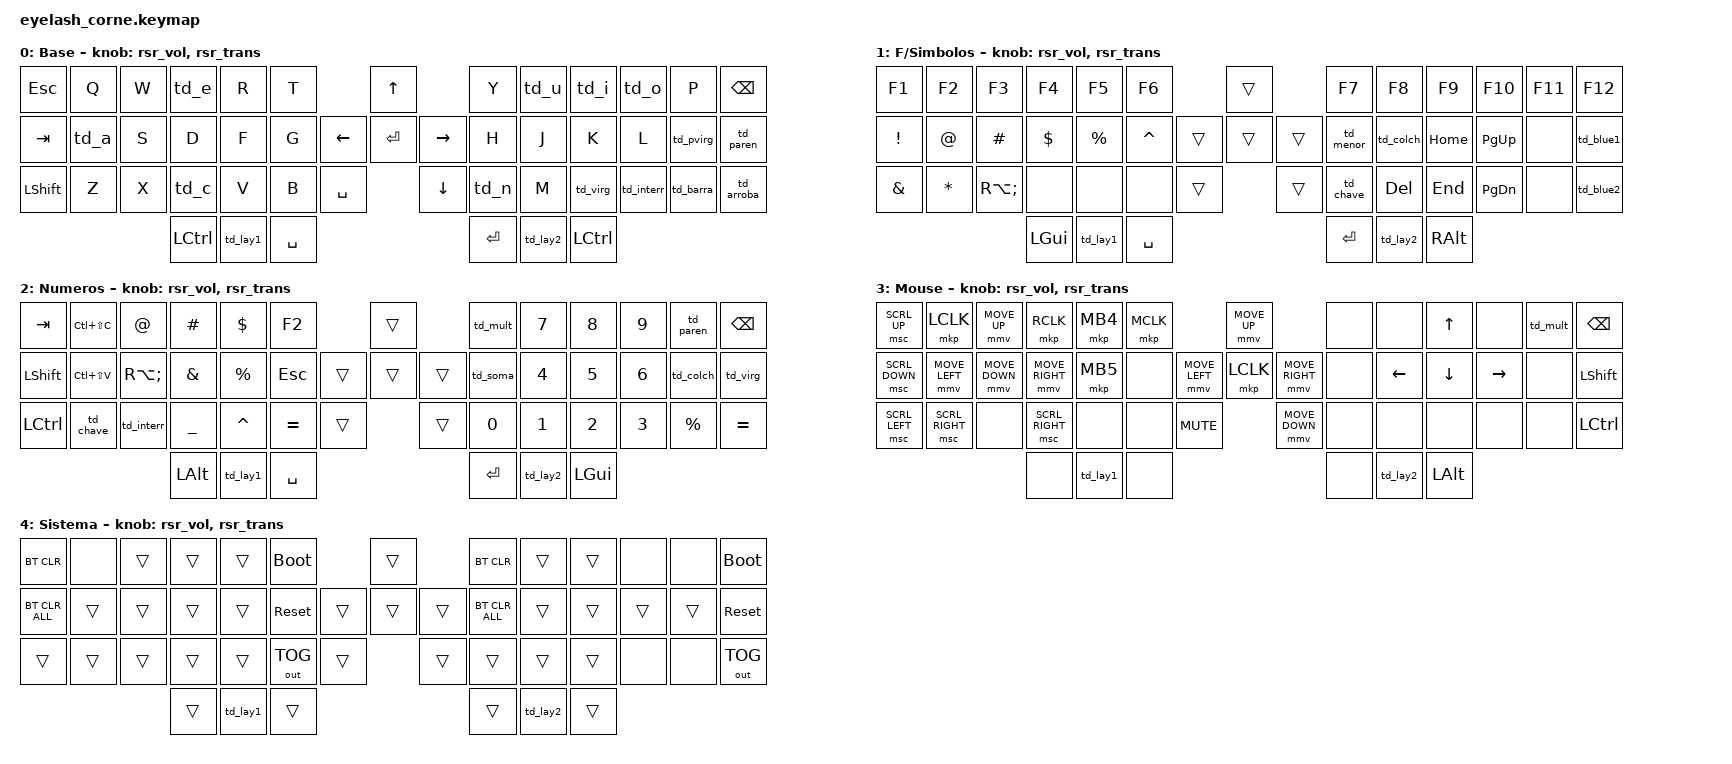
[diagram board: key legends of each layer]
/*
 * Eyelash Corne - keymap da Renee
 * Macros e tap dances recuperadas do firmware antigo (corne_left-nice_nano-zmk.uf2)
 * e adaptadas para o layout do Eyelash Corne.
 *
 * Os acentos usam teclas mortas: o sistema operacional precisa estar no layout
 * "Inglês (EUA) - Internacional" (US International), como no teclado antigo.
 */

#define ZMK_POINTING_DEFAULT_MOVE_VAL 1200  // 600
#define ZMK_POINTING_DEFAULT_SCRL_VAL 25   // 10

#include <input/processors.dtsi>
#include <zephyr/dt-bindings/input/input-event-codes.h>
#include <behaviors.dtsi>
#include <behaviors/runtime-sensor-rotate.dtsi>
#include <dt-bindings/zmk/bt.h>
#include <dt-bindings/zmk/keys.h>
#include <dt-bindings/zmk/outputs.h>
#include <dt-bindings/zmk/pointing.h>
#include <dt-bindings/zmk/rgb.h>

&soft_off { hold-time-ms = <2000>; };

#define ACENTO(label, nome, k1, k2)                     \
    label: label {                                      \
        compatible = "zmk,behavior-macro";              \
        display-name = nome;                            \
        #binding-cells = <0>;                           \
        wait-ms = <15>;                                 \
        tap-ms = <30>;                                  \
        bindings = <&macro_tap &kp k1 &kp k2>;          \
    };

#define TD(label, nome, ...)                            \
    label: label {                                      \
        compatible = "zmk,behavior-tap-dance";          \
        display-name = nome;                            \
        #binding-cells = <0>;                           \
        tapping-term-ms = <250>;                        \
        bindings = __VA_ARGS__;                         \
    };

/ {
    macros {
        // Tecla morta + letra (US International)
        ACENTO(m_cedilha,    "ç", SQT,        C)
        ACENTO(m_aagudo,     "á", SQT,        A)
        ACENTO(m_eagudo,     "é", SQT,        E)
        ACENTO(m_iagudo,     "í", SQT,        I)
        ACENTO(m_oagudo,     "ó", SQT,        O)
        ACENTO(m_uagudo,     "ú", SQT,        U)
        ACENTO(m_acrase,     "à", GRAVE,      A)
        ACENTO(m_atil,       "ã", LS(GRAVE),  A)
        ACENTO(m_otil,       "õ", LS(GRAVE),  O)
        ACENTO(m_ntil,       "ñ", LS(GRAVE),  N)
        ACENTO(m_acirc,      "â", LS(N6),     A)
        ACENTO(m_ecirc,      "ê", LS(N6),     E)
        ACENTO(m_ocirc,      "ô", LS(N6),     O)
    };

    behaviors {
        // Letras: 1 toque = letra, 2/3/4 toques = acentos
        TD(td_a,     "a á ã à", <&kp A>, <&m_aagudo>, <&m_atil>, <&m_acrase>)
        TD(td_e,     "e é ê",   <&kp E>, <&m_eagudo>, <&m_ecirc>)
        TD(td_i,     "i í",     <&kp I>, <&m_iagudo>)
        TD(td_o,     "o ó õ ô", <&kp O>, <&m_oagudo>, <&m_otil>, <&m_ocirc>)
        TD(td_u,     "u ú",     <&kp U>, <&m_uagudo>)
        TD(td_c,     "c ç",     <&kp C>, <&m_cedilha>)
        TD(td_n,     "n ñ",     <&kp N>, <&m_ntil>)

        // Pontuação e símbolos: 1 toque | 2 toques | 3 toques
        TD(td_pvirg,  "; '",     <&kp SEMI>, <&kp SQT>)
        TD(td_virg,   ", . ; aspas", <&kp COMMA>, <&kp DOT>, <&kp SEMI>, <&kp DQT>)
        TD(td_barra,  "/ barra pipe",  <&kp FSLH>, <&kp BSLH>, <&kp PIPE>)
        TD(td_arroba, "@ _ barra pipe", <&kp AT>, <&kp UNDER>, <&kp BSLH>, <&kp PIPE>)
        TD(td_interr, "? !",     <&kp QMARK>, <&kp EXCL>)
        TD(td_paren,  "( ) [ ]", <&kp LPAR>, <&kp RPAR>, <&kp LBKT>, <&kp RBKT>)
        TD(td_colch,  "[ ]",     <&kp LBKT>, <&kp RBKT>)
        TD(td_chave,  "{ }",     <&kp LBRC>, <&kp RBRC>)
        TD(td_menor,  "< > { }", <&kp LT>, <&kp GT>, <&kp LBRC>, <&kp RBRC>)
        TD(td_mult,   "* /",     <&kp ASTRK>, <&kp FSLH>)
        TD(td_soma,   "+ - / *", <&kp PLUS>, <&kp MINUS>, <&kp FSLH>, <&kp ASTRK>)
        TD(td_agudo,  "´ ` ^ ~", <&kp SQT>, <&kp GRAVE>, <&kp CARET>, <&kp TILDE>)
        TD(td_til,    "~ ^",     <&kp TILDE>, <&kp CARET>)

        // Backspace/Delete e Tab/Esc (definidos no layout antigo, sem tecla fixa:
        // dá para colocar em qualquer tecla pelo ZMK Studio)
        bkdel: bkdel {
            compatible = "zmk,behavior-tap-dance";
            display-name = "Bksp Del";
            #binding-cells = <0>;
            tapping-term-ms = <210>;
            bindings = <&kp BSPC>, <&kp DEL>;
        };

        tabesc: tabesc {
            compatible = "zmk,behavior-tap-dance";
            display-name = "Tab Esc";
            #binding-cells = <0>;
            tapping-term-ms = <220>;
            bindings = <&kp TAB>, <&kp ESC>;
        };

        // Bluetooth: perfis por número de toques
        TD(td_blue1,  "BT 0/1/2/4", <&bt BT_SEL 0>, <&bt BT_SEL 1>, <&bt BT_SEL 2>, <&bt BT_SEL 4>)
        TD(td_blue2,  "BT 2/3",  <&bt BT_SEL 2>, <&bt BT_SEL 3>)

        // Troca de camada (fixa): toques 1,2 = camada; 5 toques = camada 4 (sistema)
        TD(td_lay1,   "Camada 0/1", <&to 0>, <&to 1>, <&none>, <&none>, <&to 4>)
        TD(td_lay2,   "Camada 2/3", <&to 2>, <&to 3>, <&none>, <&none>, <&to 4>)

        rsr_vol: rsr_vol {
            compatible = "zmk,behavior-runtime-sensor-rotate";
            #sensor-binding-cells = <0>;
            tap-ms = <5>;
            cw-binding = <&kp C_VOL_UP>;
            ccw-binding = <&kp C_VOL_DN>;
        };

        rsr_trans: rsr_trans {
            compatible = "zmk,behavior-runtime-sensor-rotate";
            #sensor-binding-cells = <0>;
            tap-ms = <0>;
        };
    };

    combos {
        compatible = "zmk,combos";

        // Segurar Q + S + Z por 2 s desliga o teclado (padrão do fabricante)
        softoff {
            bindings = <&soft_off>;
            key-positions = <1 15 29>;
        };
    };

    keymap {
        compatible = "zmk,keymap";

        // Teclas do meio: joystick (cima/esquerda/enter/direita/baixo) e clique do encoder
        layer_0 {
            display-name = "Base";
            bindings = <
&kp ESC    &kp Q   &kp W  &td_e  &kp R     &kp T                          &kp UP                 &kp Y      &td_u     &td_i       &td_o      &kp P       &kp BSPC
&kp TAB    &td_a   &kp S  &kp D  &kp F     &kp G                &kp LEFT  &kp ENTER  &kp RIGHT   &kp H      &kp J     &kp K       &kp L      &td_pvirg   &td_paren
&kp LSHFT  &kp Z   &kp X  &td_c  &kp V     &kp B     &kp SPACE            &kp DOWN               &td_n      &kp M     &td_virg    &td_interr &td_barra   &td_arroba
                          &kp LCTRL &td_lay1  &kp SPACE                                          &kp ENTER  &td_lay2  &kp LCTRL
            >;
            sensor-bindings = <&rsr_vol &rsr_trans>;
        };

        layer_1 {
            display-name = "F/Simbolos";
            bindings = <
&kp F1      &kp F2      &kp F3       &kp F4      &kp F5     &kp F6                         &trans                 &kp F7     &kp F8      &kp F9    &kp F10    &kp F11  &kp F12
&kp EXCL    &kp AT      &kp HASH     &kp DLLR    &kp PRCNT  &kp CARET             &trans   &trans     &trans      &td_menor  &td_colch   &kp HOME  &kp PG_UP  &none    &td_blue1
&kp AMPS    &kp ASTRK   &kp RA(SEMI) &none       &none      &none      &trans              &trans                 &td_chave  &kp DEL     &kp END   &kp PG_DN  &none    &td_blue2
                                     &kp LGUI    &td_lay1   &kp SPACE                                             &kp ENTER  &td_lay2    &kp RALT
            >;
            sensor-bindings = <&rsr_vol &rsr_trans>;
        };

        layer_2 {
            display-name = "Numeros";
            bindings = <
&kp TAB     &kp LC(LS(C)) &kp AT        &kp HASH        &kp DLLR   &kp F2                        &trans               &td_mult   &kp N7     &kp N8  &kp N9  &td_paren  &kp BSPC
&kp LSHFT   &kp LC(LS(V)) &kp RA(SEMI)  &kp AMPS        &kp PRCNT  &kp ESC             &trans    &trans     &trans    &td_soma   &kp N4     &kp N5  &kp N6  &td_colch  &td_virg
&kp LCTRL   &td_chave     &td_interr    &kp UNDER       &kp CARET  &kp EQUAL &trans              &trans               &kp N0     &kp N1     &kp N2  &kp N3  &kp PRCNT  &kp EQUAL
                                        &kp LALT        &td_lay1   &kp SPACE                                          &kp ENTER  &td_lay2   &kp LGUI
            >;
            sensor-bindings = <&rsr_vol &rsr_trans>;
        };

        layer_3 {
            display-name = "Mouse";
            bindings = <
&msc SCRL_UP    &mkp LCLK       &mmv MOVE_UP    &mkp RCLK        &mkp MB4   &mkp MCLK                    &mmv MOVE_UP                       &none   &none     &kp UP    &none      &td_mult  &kp BSPC
&msc SCRL_DOWN  &mmv MOVE_LEFT  &mmv MOVE_DOWN  &mmv MOVE_RIGHT  &mkp MB5   &none           &mmv MOVE_LEFT  &mkp LCLK       &mmv MOVE_RIGHT  &none   &kp LEFT  &kp DOWN  &kp RIGHT  &none     &kp LSHFT
&msc SCRL_LEFT  &msc SCRL_RIGHT &none           &msc SCRL_RIGHT  &none      &none     &kp C_MUTE             &mmv MOVE_DOWN                     &none   &none     &none     &none      &none     &kp LCTRL
                                                &none            &td_lay1   &none                                                               &none   &td_lay2  &kp LALT
            >;
            sensor-bindings = <&rsr_vol &rsr_trans>;
        };

        layer_4 {
            display-name = "Sistema";
            bindings = <
&bt BT_CLR      &none   &trans  &trans  &trans    &bootloader                     &trans                    &bt BT_CLR      &trans    &trans  &none   &none   &bootloader
&bt BT_CLR_ALL  &trans  &trans  &trans  &trans    &sys_reset             &trans   &trans     &trans         &bt BT_CLR_ALL  &trans    &trans  &trans  &trans  &sys_reset
&trans          &trans  &trans  &trans  &trans    &out OUT_TOG  &trans            &trans                    &trans          &trans    &trans  &none   &none   &out OUT_TOG
                                        &trans    &td_lay1      &trans                                      &trans          &td_lay2  &trans
            >;
            sensor-bindings = <&rsr_vol &rsr_trans>;
        };
    };
};
